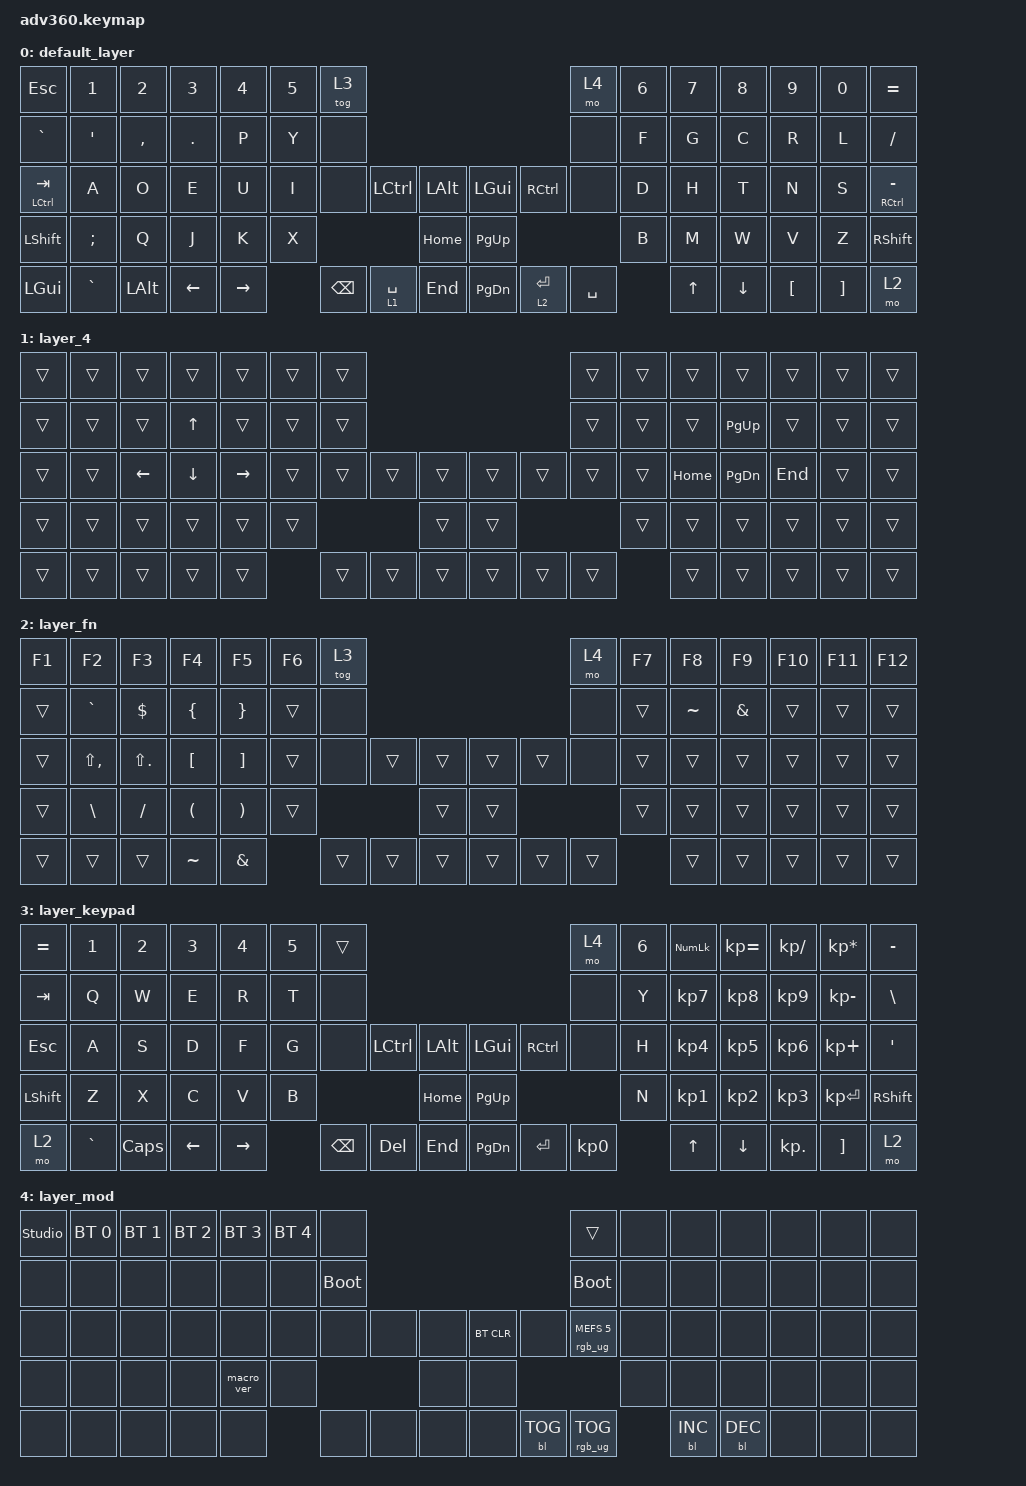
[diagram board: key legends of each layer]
/*
 * Copyright (c) 2020 The ZMK Contributors
 *
 * SPDX-License-Identifier: MIT
 */
/* THIS FILE WAS GENERATED!
 *
 * This file was generated automatically. You may or may not want to
 * edit it directly.
 */

#include <behaviors.dtsi>
#include <dt-bindings/zmk/backlight.h>
#include <dt-bindings/zmk/bt.h>
#include <dt-bindings/zmk/keys.h>
#include <dt-bindings/zmk/rgb.h>

/ {
    behaviors {
        #include "macros.dtsi"
    #include "version.dtsi"

        hm: homerow_mods {
            compatible = "zmk,behavior-hold-tap";
            label = "HOMEROW_MODS";
            #binding-cells = <2>;
            tapping-term-ms = <200>;
            quick_tap_ms = <175>;
            flavor = "tap-preferred";
            bindings = <&kp>, <&kp>;
        };
    };

    keymap {
        compatible = "zmk,keymap";

        default_layer {
            bindings = <
&kp ESC        &kp N1     &kp N2        &kp N3    &kp N4     &kp N5  &tog 3                                                            &mo 4      &kp N6  &kp N7  &kp N8    &kp N9    &kp N0    &kp EQUAL
&kp GRAVE      &kp SQT    &kp COMMA     &kp DOT   &kp P      &kp Y   &none                                                             &none      &kp F   &kp G   &kp C     &kp R     &kp L     &kp SLASH
&mt LCTRL TAB  &kp A      &kp O         &kp E     &kp U      &kp I   &none          &kp LCTRL    &kp LALT      &kp LGUI   &kp RCTRL    &none      &kp D   &kp H   &kp T     &kp N     &kp S     &mt RCTRL MINUS
&kp LSHFT      &kp SEMI   &kp Q         &kp J     &kp K      &kp X                               &kp HOME      &kp PG_UP                          &kp B   &kp M   &kp W     &kp V     &kp Z     &kp RSHFT
&kp LEFT_GUI   &kp GRAVE  &kp LEFT_ALT  &kp LEFT  &kp RIGHT          &kp BACKSPACE  &lt 1 SPACE  &kp END       &kp PG_DN  &lt 2 ENTER  &kp SPACE          &kp UP  &kp DOWN  &kp LBKT  &kp RBKT  &mo 2
            >;
        };

        layer_4 {
            bindings = <
&trans  &trans  &trans          &trans          &trans           &trans  &trans                                      &trans  &trans  &trans    &trans         &trans   &trans  &trans
&trans  &trans  &trans          &kp UP_ARROW    &trans           &trans  &trans                                      &trans  &trans  &trans    &kp PAGE_UP    &trans   &trans  &trans
&trans  &trans  &kp LEFT_ARROW  &kp DOWN_ARROW  &kp RIGHT_ARROW  &trans  &trans  &trans  &trans      &trans  &trans  &trans  &trans  &kp HOME  &kp PAGE_DOWN  &kp END  &trans  &trans
&trans  &trans  &trans          &trans          &trans           &trans                  &trans      &trans                  &trans  &trans    &trans         &trans   &trans  &trans
&trans  &trans  &trans          &trans          &trans                   &trans  &trans  &trans      &trans  &trans  &trans          &trans    &trans         &trans   &trans  &trans
            >;
        };

        layer_fn {
            bindings = <
&kp F1  &kp F2         &kp F3          &kp F4                &kp F5                 &kp F6  &tog 3                                      &mo 4   &kp F7  &kp F8     &kp F9         &kp F10  &kp F11  &kp F12
&trans  &kp GRAVE      &kp DOLLAR      &kp LEFT_BRACE        &kp RIGHT_BRACE        &trans  &none                                       &none   &trans  &kp TILDE  &kp AMPERSAND  &trans   &trans   &trans
&trans  &kp LS(COMMA)  &kp LS(PERIOD)  &kp LEFT_BRACKET      &kp RIGHT_BRACKET      &trans  &none   &trans  &trans      &trans  &trans  &none   &trans  &trans     &trans         &trans   &trans   &trans
&trans  &kp BACKSLASH  &kp SLASH       &kp LEFT_PARENTHESIS  &kp RIGHT_PARENTHESIS  &trans                  &trans      &trans                  &trans  &trans     &trans         &trans   &trans   &trans
&trans  &trans         &trans          &kp TILDE             &kp AMPERSAND                  &trans  &trans  &trans      &trans  &trans  &trans          &trans     &trans         &trans   &trans   &trans
            >;
        };

        layer_keypad {
            bindings = <
&kp EQUAL  &kp N1     &kp N2    &kp N3    &kp N4     &kp N5  &trans                                                   &mo 4      &kp N6  &kp KP_NUM  &kp KP_EQUAL  &kp KP_DIVIDE  &kp KP_MULTIPLY  &kp MINUS
&kp TAB    &kp Q      &kp W     &kp E     &kp R      &kp T   &none                                                    &none      &kp Y   &kp KP_N7   &kp KP_N8     &kp KP_N9      &kp KP_MINUS     &kp BSLH
&kp ESC    &kp A      &kp S     &kp D     &kp F      &kp G   &none     &kp LCTRL  &kp LALT      &kp LGUI   &kp RCTRL  &none      &kp H   &kp KP_N4   &kp KP_N5     &kp KP_N6      &kp KP_PLUS      &kp SQT
&kp LSHFT  &kp Z      &kp X     &kp C     &kp V      &kp B                        &kp HOME      &kp PG_UP                        &kp N   &kp KP_N1   &kp KP_N2     &kp KP_N3      &kp KP_ENTER     &kp RSHFT
&mo 2      &kp GRAVE  &kp CAPS  &kp LEFT  &kp RIGHT          &kp BSPC  &kp DEL    &kp END       &kp PG_DN  &kp ENTER  &kp KP_N0          &kp UP      &kp DOWN      &kp KP_DOT     &kp RBKT         &mo 2
            >;
        };

        layer_mod {
            bindings = <
&studio_unlock  &bt BT_SEL 0  &bt BT_SEL 1  &bt BT_SEL 2  &bt BT_SEL 3  &bt BT_SEL 4  &none                                                  &trans                  &none  &none       &none       &none  &none  &none
&none           &none         &none         &none         &none         &none         &bootloader                                            &bootloader             &none  &none       &none       &none  &none  &none
&none           &none         &none         &none         &none         &none         &none        &none  &none      &bt BT_CLR  &none       &rgb_ug RGB_MEFS_CMD 5  &none  &none       &none       &none  &none  &none
&none           &none         &none         &none         &macro_ver    &none                             &none      &none                                           &none  &none       &none       &none  &none  &none
&none           &none         &none         &none         &none                       &none        &none  &none      &none       &bl BL_TOG  &rgb_ug RGB_TOG                &bl BL_INC  &bl BL_DEC  &none  &none  &none
            >;
        };
    };
};
